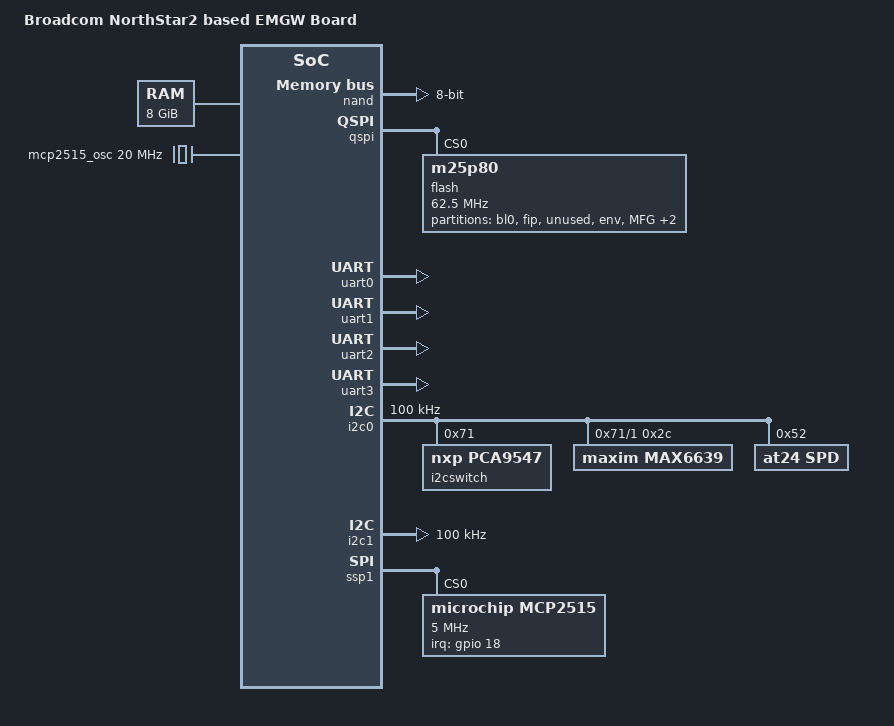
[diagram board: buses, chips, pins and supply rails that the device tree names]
/*
 * Device Tree file for Equipment Management Gateway (EMGW) board
 * This board is based on Broadcom NorthStar2 SoC
 *
 *  Copyright (C) 2015 MontaVista Software, LLC
 *
 * This file is licensed under the terms of the GNU General Public
 * License version 2.  This program is licensed "as is" without any
 * warranty of any kind, whether express or implied. *
 */

/dts-v1/;

#include "bcm_ns2.dtsi"

/ {
	model = "Broadcom NorthStar2 based EMGW Board";
	compatible = "bcm,ns2";

	chosen {
		bootargs = "maxcpus=4 console=ttyS0,115200n8 debug earlyprintk=uart8250-32bit,0x66130000 pci=pcie_bus_safe";
	};

	memory {
		device_type = "memory";
		reg = <0x000000000 0x80000000 0x00000002 0x00000000>;
	};

	clocks {
		mcp2515_osc: mcp2515_osc {
			compatible = "fixed-clock";
			#clock-cells = <0>;
			clock-frequency = <20000000>;
		};
	};

	pinctrl@0x6501d130 {
		function-select = "uart1", "uart2";
	};
};

&nand {
	bus-width = <8>;
	block-size = <0x5>;
	device-size = <0x1 0x00000000>;
	page-size = <0x3>;
	device-width = <0x8>;
	col-adr-bytes = <0x2>;
	blk-adr-bytes = <0x3>;
	ful-adr-bytes = <0x5>;
	spare-area-size = <0x1B>;
	sector-size-1k = <0x0>;
	ecc-level = <0x8>;

        partition@0 {
                label = "SwBank0";
                reg = <0x00000000 0x40000000>; /*  1GB */
        };
        partition@1 {
                label = "SwBank1";
                reg = <0x40000000 0x40000000>; /* 1GB */
        };
        partition@2 {
                label = "Data0";
                reg = <0x80000000 0x40000000>; /* 1GB */
        };
        partition@3 {
                label = "Data1";
                reg = <0xC0000000 0x30000000>; /* 768MB */
        };
        partition@4 {
                label = "diag-linux";
                reg = <0xF0000000 0x08000000>; /* 128MB */
        };
        partition@5 {
                label = "diag-test";
                reg = <0xF8000000 0x04000000>; /* 64MB */
        };
        partition@6 {
                label = "diag-conf";
                reg = <0xFC000000 0x04000000>; /* 64MB */
        };
};

&qspi {
        flash: m25p80@0 {
                #address-cells = <1>;
                #size-cells = <1>;
                compatible = "m25p80";
                spi-max-frequency = <62500000>;
                m25p,default-addr-width = <3>;
                reg = <0 0x0 0 0x0>;

                partition@0 {
                        label = "bl0";
                        reg = <0x00000000 0x00080000>; /*  512KB */
                };

                partition@1 {
                        label = "fip";
                        reg = <0x00080000 0x00100000>; /* 1024KB */
                };

                partition@2 {
                         label = "unused";
                         reg = <0x00180000 0x00060000>;/*  384KB */
                };

                partition@3 {
                        label = "env";
                        reg = <0x001E0000 0x00010000>; /*   64KB */
                };

                partition@4 {
                        label = "MFG";
                        reg = <0x001F0000 0x00004000>; /*   16KB */
                };

                partition@5 {
                        label = "IDT";
                        reg = <0x001F4000 0x00002000>; /*   8KB */
                };
                partition@6 {
                        label = "reserved";
                        reg = <0x001F6000 0x0000A000>; /*   40KB */
                };
	};
};

&uart0 {
	status = "ok";
};

&uart1 {
	status = "ok";
};

&uart2 {
	status = "ok";
};

&uart3 {
	clock-frequency = <23961600>;
	status = "ok";
};

&i2c0 {
	#address-cells = <1>;
	#size-cells = <0>;
	clock-frequency = <100000>;
	status = "okay";

	i2cswitch@71 {
		#address-cells = <1>;
		#size-cells = <0>;
		compatible = "nxp,pca9547";
		reg = <0x71>;

		i2c@1 {
			#address-cells = <1>;
			#size-cells = <0>;
			reg = <1>;
			max6639@2C {
				compatible = "maxim,max6639";
				reg = <0x2C>;
			};
		};
	};

	spd: at24@52 {
			compatible = "at24,spd";
			reg = <0x52>;
	};

};

&i2c1 {
	clock-frequency = <100000>;
	status = "okay";
};

&gpio {
	#interrupt-cells = <2>;
};

&ssp0 {
	status = "disabled";
};

&ssp1 {
	num-cs = <1>;
	status = "okay";

	mcp2515@0 {
		compatible = "microchip,mcp2515";
		reg = <0 0>;
		interrupt-parent = <&gpio>;
		interrupts = <18 IRQ_TYPE_EDGE_FALLING>;
		spi-max-frequency = <5000000>;
		clocks = <&mcp2515_osc>;
		spi-cpha = <1>;
		spi-cpol = <1>;
		pl022,hierarchy = <0>;
		pl022,interface = <0>;
		pl022,slave-tx-disable = <0>;
		pl022,com-mode = <1>;
		pl022,rx-level-trig = <0>;
		pl022,tx-level-trig = <0>;
		pl022,ctrl-len = <7>;
		pl022,wait-state = <0>;
		pl022,duplex = <0>;
	};
};
